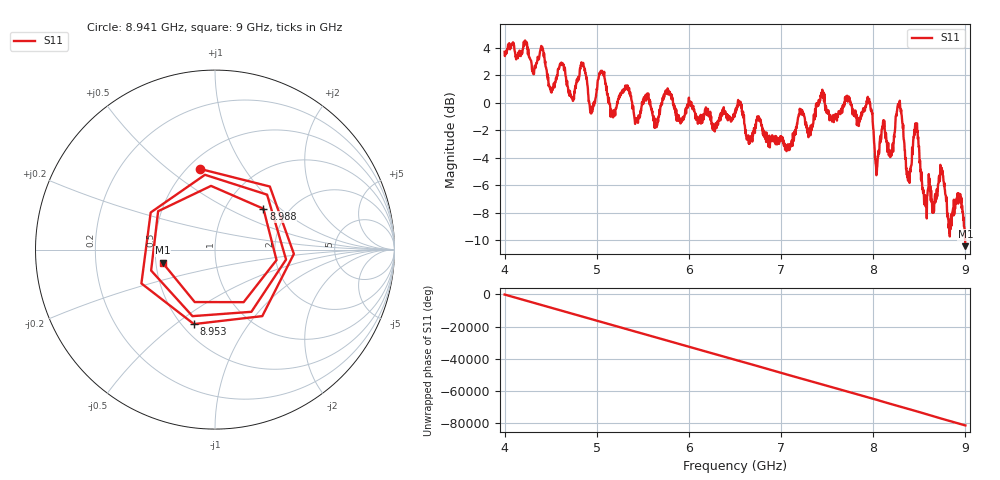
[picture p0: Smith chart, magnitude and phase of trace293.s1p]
! Created with skrf 1.8.0 (http://scikit-rf.org).
# Hz S RI R 50.0
!freq ReS11 ImS11
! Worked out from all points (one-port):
!   1601 points, 4 GHz to 9 GHz, reference 50 ohm
!   lowest |S11| = -10.4 dB at 9 GHz (marker M1), VSWR 1.86, Z = 27.2 - j4.37 ohm
!   |S11| at or under -10 dB: 8.996553 GHz to end of sweep
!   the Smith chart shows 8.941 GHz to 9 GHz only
!   S11 on the Smith chart (normalised r, x): 8.941 GHz: 0.58, +0.66; 8.953 GHz: 0.57, -0.58; 8.988 GHz: 1.50, +0.78; 9 GHz: 0.54, -0.09
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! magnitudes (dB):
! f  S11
! 4 GHz  3.7
! 4.406 GHz  4.1
! 4.503 GHz  0.8
! 4.625 GHz  2.8
! 4.728 GHz  0.3
! 4.85 GHz  2.9
! 4.944 GHz  -0.6
! 5.047 GHz  2.2
! 5.175 GHz  -0.9
! 5.25 GHz  0.6
! 5.875 GHz  -1.3
! 6.5 GHz  -0.6
! 7.125 GHz  -3.1
! 7.75 GHz  0.1
! 7.959 GHz  0.0
! 8.041 GHz  -4.8
! 8.106 GHz  -1.4
! 8.194 GHz  -3.9
! 8.284 GHz  -0.1
! 8.375 GHz  -5.5
! 8.462 GHz  -1.6
! 8.559 GHz  -6.9
! 8.738 GHz  -4.8
! 8.828 GHz  -9.2
! 8.941 GHz  -6.8
! 8.953 GHz  -7.3
! 8.988 GHz  -9.0
! 9 GHz  -10.4
